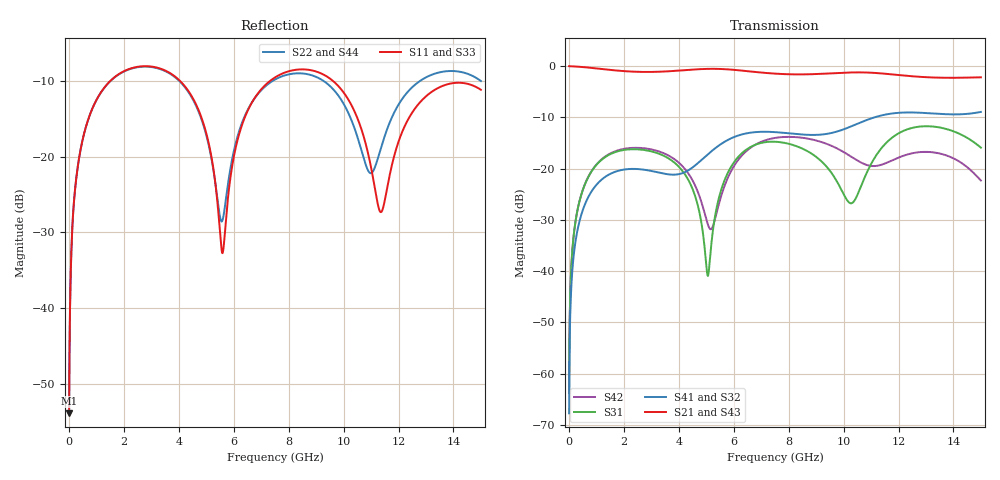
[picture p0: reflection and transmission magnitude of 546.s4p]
! Created with skrf 1.8.0 (http://scikit-rf.org).
# GHz S RI R 50.0
!freq ReS11 ImS11 ReS12 ImS12 ReS13 ImS13
! ReS14 ImS14
! ReS21 ImS21 ReS22 ImS22 ReS23 ImS23
! ReS24 ImS24
! ReS31 ImS31 ReS32 ImS32 ReS33 ImS33
! ReS34 ImS34
! ReS41 ImS41 ReS42 ImS42 ReS43 ImS43
! ReS44 ImS44
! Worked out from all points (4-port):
!   2499 points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, 5 MHz to 15 GHz, reference 50 ohm
!   strongest paths, dB at 5 MHz, 3.476 GHz, 7.19 GHz, 11.1 GHz, 15 GHz:
!     S21: 0.0, -1.1, -1.3, -1.3, -2.2
!     S43: 0.0, -1.1, -1.4, -1.3, -2.2
!     S41: -67.7, -21.0, -12.8, -10.0, -8.9
!     S32: -67.7, -21.0, -12.8, -10.1, -8.9
!     S31: -63.8, -17.6, -14.8, -18.2, -15.9
!     S42: -63.8, -17.1, -14.4, -19.5, -22.3
!   lowest |S11| = -53.9 dB at 5 MHz (marker M1), VSWR 1.00, Z = 50.2 + j0.123 ohm
!   |S11| at or under -10 dB: start of sweep to 1.513 GHz; 4.037 GHz to 7.331 GHz (3.295 GHz wide, 58 % of centre); 9.604 GHz to end of sweep
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0.005  0.00161 0.00122  0.9984 -0.00314  8.09e-05 0.000643  -7.86e-05 -0.000403
       0.9984 -0.00314  0.00161 0.00122  -7.86e-05 -0.000403  8.1e-05 0.000643
       8.09e-05 0.000643  -7.86e-05 -0.000403  0.00161 0.00122  0.9984 -0.00314
       -7.86e-05 -0.000403  8.1e-05 0.000643  0.9984 -0.00314  0.00161 0.00122
0.3626511  0.0293 0.0919  0.9596 -0.2246  0.0136 0.0437  -0.0116 -0.0267
           0.9596 -0.2246  0.0292 0.0919  -0.0116 -0.0267  0.0144 0.0434
           0.0136 0.0437  -0.0116 -0.0267  0.0294 0.0919  0.9596 -0.2246
           -0.0116 -0.0267  0.0144 0.0434  0.9596 -0.2246  0.0292 0.0919
1.619545  0.279 0.1746  0.5326 -0.7394  0.1272 0.0649  -0.0917 -0.00341
          0.5326 -0.7394  0.2764 0.1764  -0.0917 -0.00346  0.135 0.054
          0.1272 0.0649  -0.0917 -0.00346  0.2791 0.1746  0.5326 -0.7394
          -0.0917 -0.00341  0.135 0.054  0.5326 -0.7394  0.2764 0.1765
5.427261  0.0245 -0.0382  -0.9283 -0.1427  0.0102 0.0467  -0.0217 0.1643
          -0.9283 -0.1427  0.0384 -0.0306  -0.0224 0.1642  -0.0185 0.0376
          0.0102 0.0467  -0.0224 0.1642  0.0246 -0.0374  -0.9283 -0.1422
          -0.0217 0.1643  -0.0185 0.0376  -0.9283 -0.1422  0.0381 -0.0298
8.684869  0.3703 -0.0526  0.0209 0.8314  0.1434 -0.036  0.2017 -0.0705
          0.0209 0.8314  0.3474 -0.0364  0.2015 -0.0689  0.138 -0.1396
          0.1434 -0.036  0.2015 -0.0689  0.3747 -0.053  0.0209 0.8297
          0.2017 -0.0705  0.138 -0.1396  0.0209 0.8297  0.3511 -0.0364
11.42351  0.0445 0.00617  0.8465 0.00457  0.1186 0.1125  -0.0112 -0.3321
          0.8465 0.00457  0.0979 0.076  -0.00801 -0.3313  -0.0621 0.0908
          0.1186 0.1125  -0.00801 -0.3313  0.0469 -7.84e-05  0.8468 0.00646
          -0.0112 -0.3321  -0.0621 0.0908  0.8468 0.00646  0.0964 0.0692
15  0.2686 -0.0619  -0.2421 -0.7387  0.00498 -0.1601  -0.331 0.1347
    -0.2421 -0.7387  0.2914 -0.1194  -0.3327 0.1298  0.00309 -0.0765
    0.00498 -0.1601  -0.3327 0.1298  0.2711 -0.0641  -0.2424 -0.7379
    -0.331 0.1347  0.00309 -0.0765  -0.2424 -0.7379  0.2927 -0.1207
